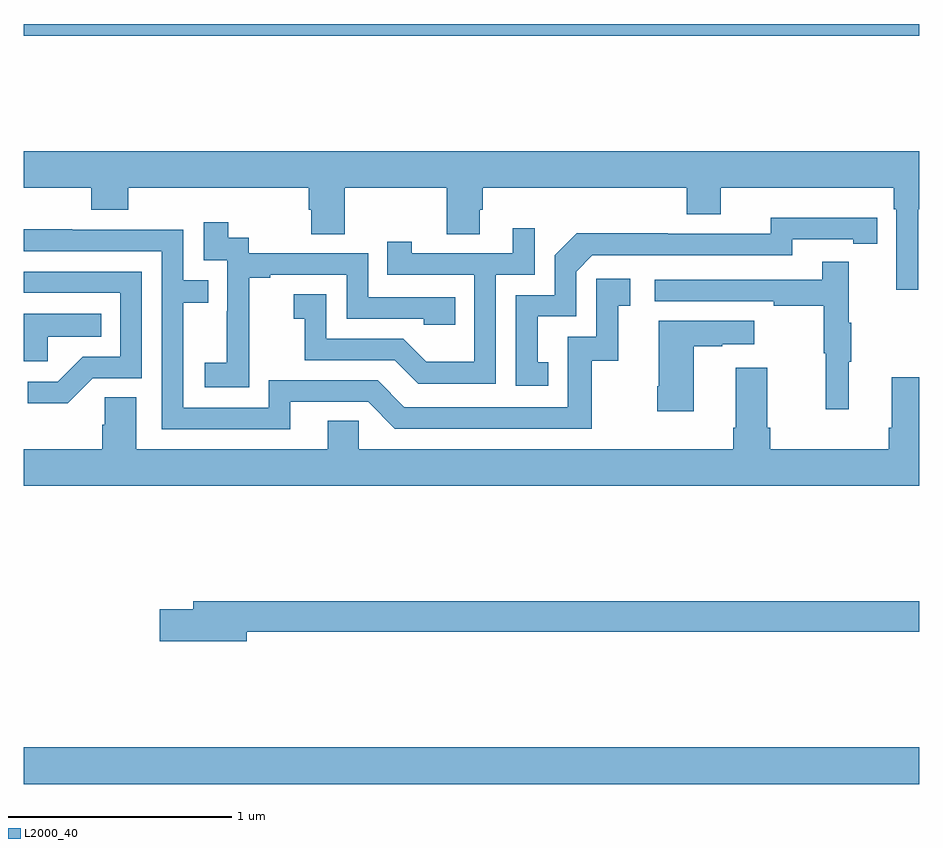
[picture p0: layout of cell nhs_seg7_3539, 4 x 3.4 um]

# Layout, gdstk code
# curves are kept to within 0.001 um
import gdstk
lib = gdstk.Library(unit=1e-6, precision=1e-09)
def R(c, l, rs):  # rectangles x0, y0, x1, y1
    for r in rs: c.add(gdstk.rectangle(r[:2], r[2:], *l))
def P(c, l, *ps):  # polygons
    for p in ps: c.add(gdstk.Polygon(p, *l))
L2000_40 = (2000, 40)

nhs_seg7_3539 = lib.new_cell('nhs_seg7_3539')
R(nhs_seg7_3539, L2000_40, [(337,1012.604,341,1012.768), (337,1015.948,341,1016)])
P(nhs_seg7_3539, L2000_40, [(340.996,1015.172),(341,1015.172),(341,1015.432),(337,1015.432),(337,1015.268),(337.301,1015.268),(337.301,1015.169),(337.466,1015.169),(337.466,1015.268),(338.273,1015.268),(338.273,1015.17),(338.285,1015.17),(338.285,1015.06),(338.433,1015.06),(338.433,1015.268),(338.89,1015.268),(338.89,1015.06),(339.037,1015.06),(339.037,1015.17),(339.05,1015.17),(339.05,1015.268),(339.962,1015.268),(339.962,1015.151),(340.114,1015.151),(340.114,1015.268),(340.886,1015.268),(340.886,1015.172),(340.899,1015.172),(340.899,1014.813),(340.996,1014.813)],
  [(339.344,1014.489),(339.295,1014.489),(339.295,1014.693),(339.468,1014.693),(339.468,1014.894),(339.54,1014.966),(340.434,1014.966),(340.434,1015.038),(340.706,1015.038),(340.706,1015.018),(340.814,1015.018),(340.814,1015.134),(340.338,1015.135),(340.338,1015.062),(339.878,1015.062),(339.878,1015.064),(339.47,1015.064),(339.372,1014.966),(339.372,1014.789),(339.198,1014.789),(339.198,1014.384),(339.344,1014.384)],
  [(338.007,1014.583),(338.006,1014.583),(338.006,1014.867),(338.101,1014.867),(338.101,1014.879),(338.442,1014.879),(338.442,1014.684),(338.787,1014.684),(338.787,1014.657),(338.927,1014.657),(338.927,1014.78),(338.538,1014.78),(338.538,1014.975),(338.004,1014.975),(338.004,1015.044),(337.912,1015.044),(337.912,1015.114),(337.803,1015.114),(337.803,1014.945),(337.908,1014.945),(337.908,1014.716),(337.907,1014.716),(337.907,1014.487),(337.809,1014.487),(337.809,1014.377),(338.007,1014.377)],
  [(339.108,1014.879),(339.282,1014.879),(339.282,1015.087),(339.185,1015.087),(339.185,1014.975),(338.734,1014.975),(338.734,1015.027),(338.623,1015.027),(338.623,1014.879),(339.012,1014.879),(339.012,1014.49),(338.798,1014.49),(338.694,1014.594),(338.352,1014.594),(338.352,1014.793),(338.205,1014.793),(338.205,1014.683),(338.254,1014.683),(338.254,1014.498),(338.657,1014.498),(338.762,1014.393),(339.108,1014.393)],
  [(338.191,1014.312),(338.538,1014.312),(338.658,1014.192),(339.538,1014.192),(339.538,1014.495),(339.656,1014.495),(339.656,1014.741),(339.709,1014.741),(339.709,1014.862),(339.558,1014.862),(339.558,1014.603),(339.429,1014.603),(339.429,1014.288),(338.7,1014.288),(338.58,1014.408),(338.094,1014.408),(338.094,1014.285),(337.713,1014.285),(337.713,1014.754),(337.823,1014.754),(337.823,1014.855),(337.713,1014.855),(337.713,1015.08),(337.217,1015.08),(337.217,1015.082),(337,1015.082),(337,1014.984),(337.617,1014.984),(337.617,1014.189),(338.191,1014.189)],
  [(340.685,1014.491),(340.696,1014.491),(340.696,1014.665),(340.685,1014.665),(340.685,1014.937),(340.567,1014.937),(340.567,1014.858),(339.819,1014.858),(339.819,1014.762),(340.351,1014.762),(340.351,1014.742),(340.575,1014.742),(340.575,1014.528),(340.582,1014.528),(340.582,1014.279),(340.685,1014.279)],
  [(337.308,1014.417),(337.527,1014.417),(337.527,1014.894),(337,1014.894),(337,1014.798),(337.431,1014.798),(337.431,1014.513),(337.262,1014.513),(337.151,1014.402),(337.017,1014.402),(337.017,1014.305),(337.195,1014.305)],
  [(337.107,1014.602),(337.346,1014.602),(337.346,1014.706),(337,1014.706),(337,1014.494),(337.107,1014.494)],
  [(339.994,1014.559),(340.121,1014.559),(340.121,1014.569),(340.264,1014.569),(340.264,1014.673),(339.836,1014.673),(339.836,1014.382),(339.829,1014.382),(339.829,1014.27),(339.994,1014.27)],
  [(341,1014.421),(340.877,1014.421),(340.877,1014.196),(340.865,1014.196),(340.865,1014.1),(340.334,1014.1),(340.334,1014.196),(340.321,1014.196),(340.321,1014.463),(340.181,1014.463),(340.181,1014.196),(340.169,1014.196),(340.169,1014.1),(338.496,1014.1),(338.496,1014.227),(338.357,1014.227),(338.357,1014.1),(337.501,1014.1),(337.501,1014.332),(337.362,1014.332),(337.362,1014.209),(337.349,1014.209),(337.349,1014.1),(337,1014.1),(337,1013.936),(341,1013.936)],
  [(337.996,1013.284),(341,1013.284),(341,1013.42),(337.757,1013.42),(337.757,1013.384),(337.608,1013.384),(337.608,1013.242),(337.996,1013.242)])

lib.write_gds('nhs_seg7_3539.gds')
